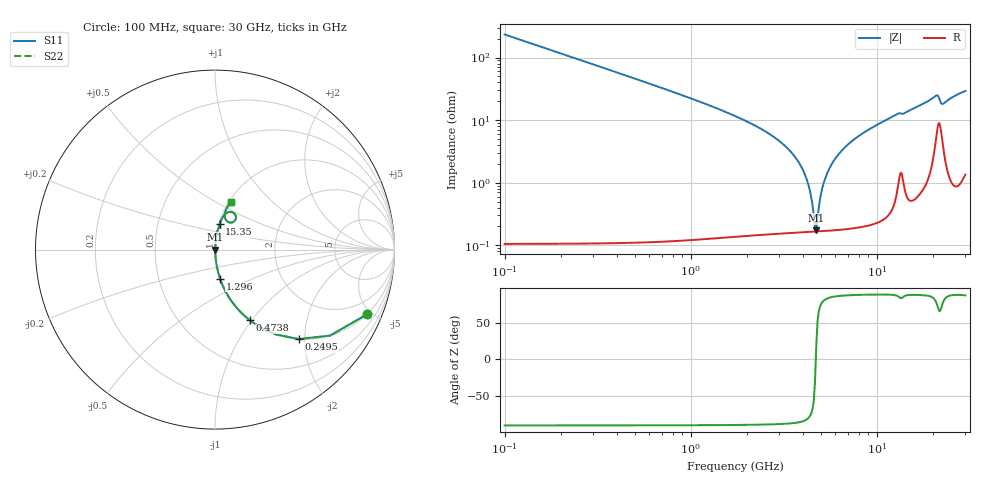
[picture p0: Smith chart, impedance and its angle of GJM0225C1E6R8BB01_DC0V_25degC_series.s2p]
!Murata Part Number: GJM0225C1E6R8BB01
!These Parameters are Measured in Series Mode Connection
!  o--ll--o
!Port1  Port2
!  o------o
!Operation Temp=25[degC], DC Bias Voltage=0[V]
!Freq. Start=100[MHz] Stop=30[GHz], 401[Steps]
!Data Generated on Feb 1, 2023
# Hz S RI R 50
!Freq.(Hz) S11(Real) S11(Imag) S21(Real) S21(Imag) S12(Real) S12(Imag) S22(Real) S22(Imag)
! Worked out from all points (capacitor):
!   401 points, 100 MHz to 30 GHz, reference 50 ohm
!   read as one part in series: C = 6.8 pF near 249.5 MHz
!   lowest |Z| = 174 mohm at 4.734 GHz (marker M1)
!   series resonance near 4.71 GHz, so ESL is about 170 pH
!   S11 on the Smith chart (normalised r, x): 100 MHz: 1.00, -4.68; 249.5 MHz: 1.00, -1.87; 473.8 MHz: 1.00, -0.98; 1.296 GHz: 1.00, -0.33; 15.35 GHz: 1.01, +0.30; 30 GHz: 1.03, +0.58
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1e8  0.8454 -0.3613  0.1546 0.3613  0.1546 0.3613  0.8454 -0.3613
2.495e8  0.4667 -0.4983  0.5333 0.4983  0.5333 0.4983  0.4667 -0.4983
4.7375e8  0.1935 -0.3939  0.8065 0.3939  0.8065 0.3939  0.1935 -0.3939
7.7275e8  0.0807 -0.2705  0.9193 0.2705  0.9193 0.2705  0.0807 -0.2705
1.296e9  0.0282 -0.1618  0.9718 0.1618  0.9718 0.1618  0.0282 -0.1618
3.76275e9  0.00209 -0.0224  0.9979 0.0224  0.9979 0.0224  0.00209 -0.0224
4.21125e9  0.00175 -0.0111  0.9983 0.0111  0.9983 0.0111  0.00175 -0.0111
4.36075e9  0.00169 -0.00763  0.9983 0.00763  0.9983 0.00763  0.00169 -0.00763
4.585e9  0.00165 -0.00266  0.9983 0.00266  0.9983 0.00266  0.00165 -0.00266
4.7345e9  0.00166 0.000523  0.9983 -0.000523  0.9983 -0.000523  0.00166 0.000523
5.10825e9  0.00174 0.00806  0.9983 -0.00806  0.9983 -0.00806  0.00174 0.00806
5.6315e9  0.00203 0.0178  0.998 -0.0178  0.998 -0.0178  0.00203 0.0178
6.60325e9  0.00296 0.0342  0.997 -0.0342  0.997 -0.0342  0.00296 0.0342
8.0235e9  0.00502 0.0555  0.995 -0.0555  0.995 -0.0555  0.00502 0.0555
1.01165e10  0.00943 0.0841  0.9906 -0.0841  0.9906 -0.0841  0.00943 0.0841
1.505e10  0.025 0.1391  0.975 -0.1391  0.975 -0.1391  0.025 0.1391
1.5349e10  0.0261 0.1431  0.9739 -0.1431  0.9739 -0.1431  0.0261 0.1431
2.005825e10  0.0679 0.2058  0.9321 -0.2058  0.9321 -0.2058  0.0679 0.2058
2.11795e10  0.1099 0.1987  0.8901 -0.1987  0.8901 -0.1987  0.1099 0.1987
2.245025e10  0.0746 0.1532  0.9254 -0.1532  0.9254 -0.1532  0.0746 0.1532
2.50665e10  0.057 0.2095  0.943 -0.2095  0.943 -0.2095  0.057 0.2095
3e10  0.089 0.2626  0.911 -0.2626  0.911 -0.2626  0.089 0.2626
